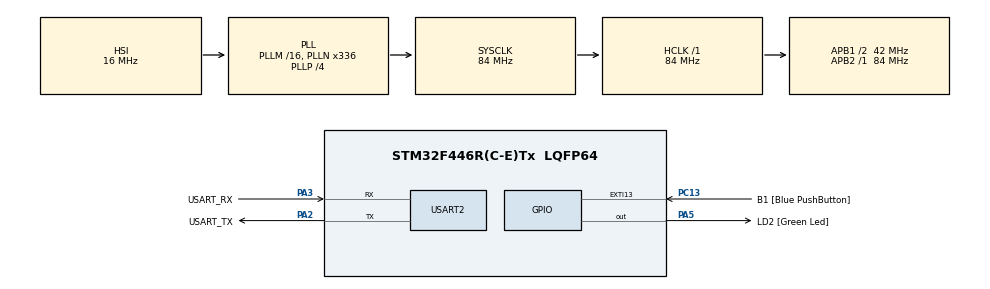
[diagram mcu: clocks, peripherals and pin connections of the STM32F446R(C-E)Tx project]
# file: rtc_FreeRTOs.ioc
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FREERTOS.Tasks01=set_time,0,128,set_time_rtc,Default,NULL,Dynamic,NULL,NULL;get_time,-3,128,get_time_rtc,Default,NULL,Dynamic,NULL,NULL
FREERTOS.configUSE_NEWLIB_REENTRANT=1
Mcu.Family=STM32F4
Mcu.Name=STM32F446R(C-E)Tx
Mcu.Package=LQFP64
NVIC.PriorityGroup=NVIC_PRIORITYGROUP_4
NVIC.TIM3_IRQn=true\:15\:0\:false\:false\:true\:false\:false\:true\:true
NVIC.TimeBase=TIM3_IRQn
NVIC.TimeBaseIP=TIM3
PA13.GPIO_Label=TMS
PA13.Mode=Serial_Wire
PA13.Signal=SYS_JTMS-SWDIO
PA14.GPIO_Label=TCK
PA14.Mode=Serial_Wire
PA14.Signal=SYS_JTCK-SWCLK
PA2.GPIO_Label=USART_TX
PA2.Mode=Asynchronous
PA2.Signal=USART2_TX
PA3.GPIO_Label=USART_RX
PA3.Mode=Asynchronous
PA3.Signal=USART2_RX
PA5.GPIO_Label=LD2 [Green Led]
PA5.Signal=GPIO_Output
PB3.GPIO_Label=SWO
PB3.Signal=SYS_JTDO-SWO
PC13.GPIO_Label=B1 [Blue PushButton]
PC13.GPIO_ModeDefaultEXTI=GPIO_MODE_IT_FALLING
PC13.Signal=GPXTI13
PC14-OSC32_IN.Mode=LSE-External-Oscillator
PC14-OSC32_IN.Signal=RCC_OSC32_IN
PC15-OSC32_OUT.Mode=LSE-External-Oscillator
PC15-OSC32_OUT.Signal=RCC_OSC32_OUT
PH0-OSC_IN.Mode=HSE-External-Oscillator
PH0-OSC_IN.Signal=RCC_OSC_IN
PH1-OSC_OUT.Mode=HSE-External-Oscillator
PH1-OSC_OUT.Signal=RCC_OSC_OUT
ProjectManager.HeapSize=0x200
ProjectManager.StackSize=0x400
ProjectManager.TargetToolchain=STM32CubeIDE
RCC.48MHZClocksFreq_Value=84000000
RCC.AHBFreq_Value=84000000
RCC.APB1CLKDivider=RCC_HCLK_DIV2
RCC.APB1Freq_Value=42000000
RCC.APB1TimFreq_Value=84000000
RCC.APB2Freq_Value=84000000
RCC.APB2TimFreq_Value=84000000
RCC.CortexFreq_Value=84000000
RCC.FLatency-AdvancedSettings=FLASH_LATENCY_2
RCC.HCLKFreq_Value=84000000
RCC.HSE_VALUE=8000000
RCC.HSI_VALUE=16000000
RCC.PLLN=336
RCC.PLLP=RCC_PLLP_DIV4
RCC.SYSCLKFreq_VALUE=84000000
RCC.SYSCLKSource=RCC_SYSCLKSOURCE_PLLCLK
RCC.USBFreq_Value=168000000
RCC.VCOOutputFreq_Value=336000000
RTC.Hours=10
RTC.Minutes=30
RTC.Seconds=25
USART2.VirtualMode=VM_ASYNC
VP_FREERTOS_VS_CMSIS_V1.Mode=CMSIS_V1
VP_RTC_VS_RTC_Activate.Mode=RTC_Enabled
VP_RTC_VS_RTC_Calendar.Mode=RTC_Calendar
VP_SYS_VS_tim3.Mode=TIM3
board=NUCLEO-F446RE

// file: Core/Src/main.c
/* USER CODE BEGIN Header */
/**
  ******************************************************************************
  * @file           : main.c
  * @brief          : Main program body
  ******************************************************************************
  * @attention
  *
  * Copyright (c) 2024 STMicroelectronics.
  * All rights reserved.
  *
  * This software is licensed under terms that can be found in the LICENSE file
  * in the root directory of this software component.
  * If no LICENSE file comes with this software, it is provided AS-IS.
  *
  ******************************************************************************
  */
/* USER CODE END Header */
#include "main.h"
#include "cmsis_os.h"

RTC_HandleTypeDef hrtc;

UART_HandleTypeDef huart2;

osThreadId set_timeHandle;
osThreadId get_timeHandle;

void SystemClock_Config(void);
static void MX_GPIO_Init(void);
static void MX_USART2_UART_Init(void);
static void MX_RTC_Init(void);
void set_time_rtc(void const * argument);
void get_time_rtc(void const * argument);

/* USER CODE BEGIN 0 */
char time_str[9];
char date_str[11];
/* USER CODE END 0 */

int main(void)
{

  /* MCU Configuration--------------------------------------------------------*/

  /* Reset of all peripherals, Initializes the Flash interface and the Systick. */
  HAL_Init();

  /* Configure the system clock */
  SystemClock_Config();

  /* Initialize all configured peripherals */
  MX_GPIO_Init();
  MX_USART2_UART_Init();
  MX_RTC_Init();

  /* Create the thread(s) */
  /* definition and creation of set_time */
  osThreadDef(set_time, set_time_rtc, osPriorityNormal, 0, 128);
  set_timeHandle = osThreadCreate(osThread(set_time), NULL);

  /* definition and creation of get_time */
  osThreadDef(get_time, get_time_rtc, osPriorityIdle, 0, 128);
  get_timeHandle = osThreadCreate(osThread(get_time), NULL);

  /* Start scheduler */
  osKernelStart();

  /* We should never get here as control is now taken by the scheduler */
  /* Infinite loop */
  while (1)
  {

  }
}

void SystemClock_Config(void)
{
  RCC_OscInitTypeDef RCC_OscInitStruct = {0};
  RCC_ClkInitTypeDef RCC_ClkInitStruct = {0};

  /** Configure the main internal regulator output voltage
  */
  __HAL_RCC_PWR_CLK_ENABLE();
  __HAL_PWR_VOLTAGESCALING_CONFIG(PWR_REGULATOR_VOLTAGE_SCALE3);

  /** Initializes the RCC Oscillators according to the specified parameters
  * in the RCC_OscInitTypeDef structure.
  */
  RCC_OscInitStruct.OscillatorType = RCC_OSCILLATORTYPE_HSI|RCC_OSCILLATORTYPE_LSI;
  RCC_OscInitStruct.LSEState = RCC_LSE_ON;
  RCC_OscInitStruct.HSIState = RCC_HSI_ON;
  RCC_OscInitStruct.HSICalibrationValue = RCC_HSICALIBRATION_DEFAULT;
  RCC_OscInitStruct.LSIState = RCC_LSI_ON;
  RCC_OscInitStruct.PLL.PLLState = RCC_PLL_ON;
  RCC_OscInitStruct.PLL.PLLSource = RCC_PLLSOURCE_HSI;
  RCC_OscInitStruct.PLL.PLLM = 16;
  RCC_OscInitStruct.PLL.PLLN = 336;
  RCC_OscInitStruct.PLL.PLLP = RCC_PLLP_DIV4;
  RCC_OscInitStruct.PLL.PLLQ = 2;
  RCC_OscInitStruct.PLL.PLLR = 2;
  if (HAL_RCC_OscConfig(&RCC_OscInitStruct) != HAL_OK)
  {
    Error_Handler();
  }

  /** Initializes the CPU, AHB and APB buses clocks
  */
  RCC_ClkInitStruct.ClockType = RCC_CLOCKTYPE_HCLK|RCC_CLOCKTYPE_SYSCLK
                              |RCC_CLOCKTYPE_PCLK1|RCC_CLOCKTYPE_PCLK2;
  RCC_ClkInitStruct.SYSCLKSource = RCC_SYSCLKSOURCE_PLLCLK;
  RCC_ClkInitStruct.AHBCLKDivider = RCC_SYSCLK_DIV1;
  RCC_ClkInitStruct.APB1CLKDivider = RCC_HCLK_DIV2;
  RCC_ClkInitStruct.APB2CLKDivider = RCC_HCLK_DIV1;

  if (HAL_RCC_ClockConfig(&RCC_ClkInitStruct, FLASH_LATENCY_2) != HAL_OK)
  {
    Error_Handler();
  }
}

static void MX_RTC_Init(void)
{

  RTC_TimeTypeDef sTime = {0};
  RTC_DateTypeDef sDate = {0};

  /** Initialize RTC Only
  */
  hrtc.Instance = RTC;
  hrtc.Init.HourFormat = RTC_HOURFORMAT_24;
  hrtc.Init.AsynchPrediv = 127;
  hrtc.Init.SynchPrediv = 255;
  hrtc.Init.OutPut = RTC_OUTPUT_DISABLE;
  hrtc.Init.OutPutPolarity = RTC_OUTPUT_POLARITY_HIGH;
  hrtc.Init.OutPutType = RTC_OUTPUT_TYPE_OPENDRAIN;
  if (HAL_RTC_Init(&hrtc) != HAL_OK)
  {
    Error_Handler();
  }

  /** Initialize RTC and set the Time and Date
  */
  sTime.Hours = 0x10;
  sTime.Minutes = 0x30;
  sTime.Seconds = 0x25;
  sTime.DayLightSaving = RTC_DAYLIGHTSAVING_NONE;
  sTime.StoreOperation = RTC_STOREOPERATION_RESET;
  if (HAL_RTC_SetTime(&hrtc, &sTime, RTC_FORMAT_BCD) != HAL_OK)
  {
    Error_Handler();
  }
  sDate.WeekDay = RTC_WEEKDAY_MONDAY;
  sDate.Month = RTC_MONTH_JANUARY;
  sDate.Date = 0x1;
  sDate.Year = 0x0;

  if (HAL_RTC_SetDate(&hrtc, &sDate, RTC_FORMAT_BCD) != HAL_OK)
  {
    Error_Handler();
  }

}

static void MX_USART2_UART_Init(void)
{

  huart2.Instance = USART2;
  huart2.Init.BaudRate = 115200;
  huart2.Init.WordLength = UART_WORDLENGTH_8B;
  huart2.Init.StopBits = UART_STOPBITS_1;
  huart2.Init.Parity = UART_PARITY_NONE;
  huart2.Init.Mode = UART_MODE_TX_RX;
  huart2.Init.HwFlowCtl = UART_HWCONTROL_NONE;
  huart2.Init.OverSampling = UART_OVERSAMPLING_16;
  if (HAL_UART_Init(&huart2) != HAL_OK)
  {
    Error_Handler();
  }

}

static void MX_GPIO_Init(void)
{
  GPIO_InitTypeDef GPIO_InitStruct = {0};

  /* GPIO Ports Clock Enable */
  __HAL_RCC_GPIOC_CLK_ENABLE();
  __HAL_RCC_GPIOH_CLK_ENABLE();
  __HAL_RCC_GPIOA_CLK_ENABLE();
  __HAL_RCC_GPIOB_CLK_ENABLE();

  /*Configure GPIO pin Output Level */
  HAL_GPIO_WritePin(LD2_GPIO_Port, LD2_Pin, GPIO_PIN_RESET);

  /*Configure GPIO pin : B1_Pin */
  GPIO_InitStruct.Pin = B1_Pin;
  GPIO_InitStruct.Mode = GPIO_MODE_IT_FALLING;
  GPIO_InitStruct.Pull = GPIO_NOPULL;
  HAL_GPIO_Init(B1_GPIO_Port, &GPIO_InitStruct);

  /*Configure GPIO pin : LD2_Pin */
  GPIO_InitStruct.Pin = LD2_Pin;
  GPIO_InitStruct.Mode = GPIO_MODE_OUTPUT_PP;
  GPIO_InitStruct.Pull = GPIO_NOPULL;
  GPIO_InitStruct.Speed = GPIO_SPEED_FREQ_LOW;
  HAL_GPIO_Init(LD2_GPIO_Port, &GPIO_InitStruct);

}

void set_time_rtc(void const * argument)
{
  /* USER CODE BEGIN 5 */
  /* Infinite loop */
  for(;;)
  {
	  RTC_TimeTypeDef sTime;
	    RTC_DateTypeDef sDate;
	    sTime.Hours = 0x3; // set hours
	    sTime.Minutes = 0x20; // set minutes
	    sTime.Seconds = 0x30; // set seconds
	    sTime.DayLightSaving = RTC_DAYLIGHTSAVING_NONE;
	    sTime.StoreOperation = RTC_STOREOPERATION_RESET;
	    if (HAL_RTC_SetTime(&hrtc, &sTime, RTC_FORMAT_BCD) != HAL_OK)
	    {
	      Error_Handler();
	    }
	    sDate.WeekDay = RTC_WEEKDAY_THURSDAY; //day
	    sDate.Month = RTC_MONTH_AUGUST; //month
	    sDate.Date = 0x3; // date
	    sDate.Year = 0x24; // year
	    if (HAL_RTC_SetDate(&hrtc, &sDate, RTC_FORMAT_BCD) != HAL_OK)
	    {
	      Error_Handler();
	    }
	    HAL_RTCEx_BKUPWrite(&hrtc, RTC_BKP_DR1, 0x32F2); // backup register
    osDelay(500);
  }
  /* USER CODE END 5 */
}

void get_time_rtc(void const * argument)
{
  /* USER CODE BEGIN get_time_rtc */
  /* Infinite loop */
  for(;;)
  {
      RTC_DateTypeDef gDate;
      RTC_TimeTypeDef gTime;
      /* Get the RTC current Time */
      HAL_RTC_GetTime(&hrtc, &gTime, RTC_FORMAT_BIN);
      /* Get the RTC current Date */
      HAL_RTC_GetDate(&hrtc, &gDate, RTC_FORMAT_BIN);
      /* Display time Format: hh:mm:ss */
      sprintf((char*)time_str, "%02d:%02d:%02d", gTime.Hours, gTime.Minutes, gTime.Seconds);
      /* Display date Format: dd-mm-yyyy */
      sprintf((char*)date_str, "%02d-%02d-%4d", gDate.Date, gDate.Month, 2000 + gDate.Year);

      // Transmit the time and date over UART
      HAL_UART_Transmit(&huart2, (uint8_t*)time_str, strlen(time_str), HAL_MAX_DELAY);
      HAL_UART_Transmit(&huart2, (uint8_t*)"\r\n", 2, HAL_MAX_DELAY);
      HAL_UART_Transmit(&huart2, (uint8_t*)date_str, strlen(date_str), HAL_MAX_DELAY);
      HAL_UART_Transmit(&huart2, (uint8_t*)"\r\n", 2, HAL_MAX_DELAY);

      osDelay(1000);
  }
  /* USER CODE END get_time_rtc */
}

void HAL_TIM_PeriodElapsedCallback(TIM_HandleTypeDef *htim)
{
  if (htim->Instance == TIM3) {
    HAL_IncTick();
  }
}

void Error_Handler(void)
{
  __disable_irq();
  while (1)
  {
  }
}
